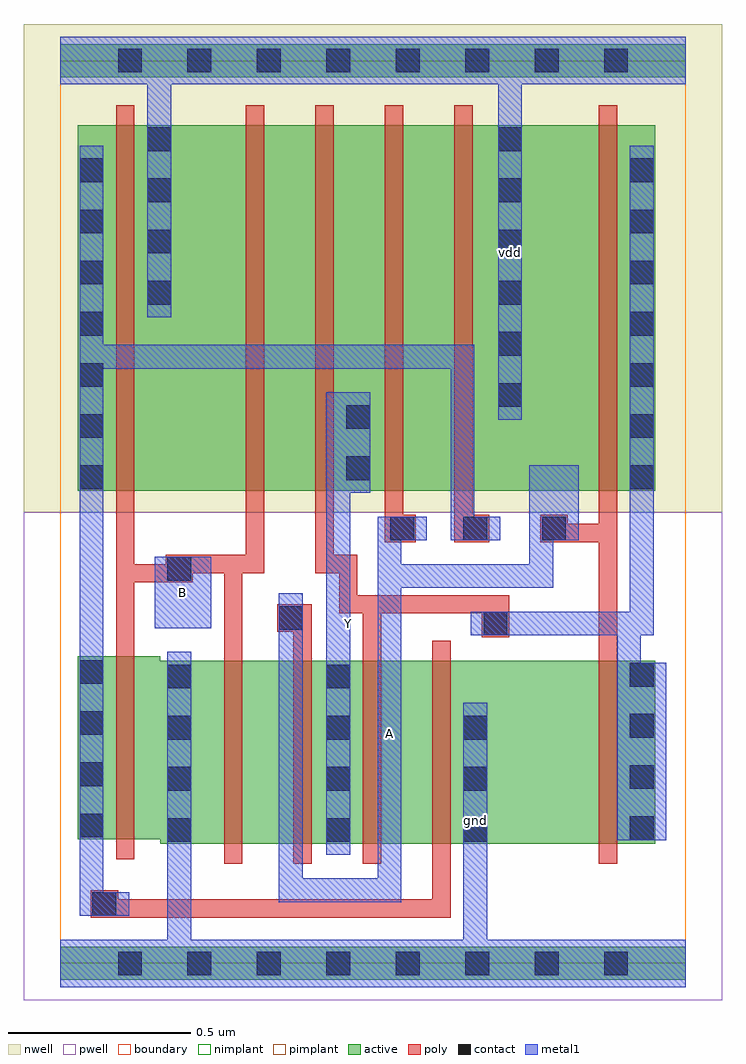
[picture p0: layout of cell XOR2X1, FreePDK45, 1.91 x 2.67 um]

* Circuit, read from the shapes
.subckt XOR2X1 A B Y gnd vdd
M1 gnd B n1 gnd nfet w=0.5u l=0.05u
M2 n2 B gnd gnd nfet w=0.5u l=0.05u
M3 Y A n2 gnd nfet w=0.5u l=0.05u
M4 n3 n4 Y gnd nfet w=0.5u l=0.05u
M5 gnd n1 n3 gnd nfet w=0.5u l=0.05u
M6 n4 A gnd gnd nfet w=0.5u l=0.05u
M7 vdd B n1 vdd pfet w=1u l=0.05u
M8 n5 B vdd vdd pfet w=1u l=0.05u
M9 Y n4 n5 vdd pfet w=1u l=0.05u
M10 n6 A Y vdd pfet w=1u l=0.05u
M11 vdd n1 n6 vdd pfet w=1u l=0.05u
M12 n4 A vdd vdd pfet w=1u l=0.05u
.ends

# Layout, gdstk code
import gdstk
lib = gdstk.Library(unit=1e-6, precision=5e-10)
def R(c, l, rs):  # rectangles x0, y0, x1, y1
    for r in rs: c.add(gdstk.rectangle(r[:2], r[2:], *l))
def A(c, l, x, y, w, h, nx, ny, dx, dy):  # array of equal rectangles
    R(c, l, [(x+i*dx, y+j*dy, x+i*dx+w, y+j*dy+h) for i in range(nx) for j in range(ny)])
def P(c, l, *ps):  # polygons
    for p in ps: c.add(gdstk.Polygon(p, *l))
active = (1, 0)
pwell = (2, 0)
nwell = (3, 0)
nimplant = (4, 0)
pimplant = (5, 0)
poly = (9, 0)
contact = (10, 0)
metal1 = (11, 0)
boundary = (235, 0)

xor2x1 = lib.new_cell('XOR2X1')
A(xor2x1, active, 0.4475, 0.3275, 0.05, 0.5, 4, 1, 0.19, 0)
A(xor2x1, active, 0.4975, 0.3275, 0.14, 0.5, 3, 1, 0.19, 0)
A(xor2x1, active, 0.5075, 1.2925, 0.05, 1, 4, 1, 0.19, 0)
A(xor2x1, active, 0.5575, 1.2925, 0.14, 1, 3, 1, 0.19, 0)
R(xor2x1, active, [(0,-0.045,1.71,0.045), (1.0675,0.3275,1.4725,0.8275), (1.4725,0.3275,1.5225,0.8275), (1.5225,0.3275,1.6275,0.8275), (0.0475,0.34,0.1525,0.84), (0.1525,0.34,0.2025,0.84), (0.0475,1.2925,0.1525,2.2925), (0.1525,1.2925,0.2025,2.2925), (0.2025,1.2925,0.5075,2.2925), (1.1275,1.2925,1.4725,2.2925), (1.4725,1.2925,1.5225,2.2925), (1.5225,1.2925,1.6275,2.2925), (0,2.425,1.71,2.515)])
P(xor2x1, active, [(0.2725,0.84),(0.2725,0.8275),(0.4475,0.8275),(0.4475,0.3275),(0.2725,0.3275),(0.2725,0.34),(0.2025,0.34),(0.2025,0.84)])
R(xor2x1, pwell, [(-0.1,-0.1,1.81,1.235)])
R(xor2x1, nwell, [(-0.1,1.235,1.81,2.57)])
A(xor2x1, nimplant, 0.4475, 0.3275, 0.05, 0.5, 4, 1, 0.19, 0)
A(xor2x1, nimplant, 0.4975, 0.3275, 0.14, 0.5, 3, 1, 0.19, 0)
R(xor2x1, nimplant, [(1.0675,0.3275,1.4725,0.8275), (1.4725,0.3275,1.5225,0.8275), (1.5225,0.3275,1.6275,0.8275), (0.0475,0.34,0.1525,0.84), (0.1525,0.34,0.2025,0.84), (0,2.425,1.71,2.515)])
P(xor2x1, nimplant, [(0.2725,0.84),(0.2725,0.8275),(0.4475,0.8275),(0.4475,0.3275),(0.2725,0.3275),(0.2725,0.34),(0.2025,0.34),(0.2025,0.84)])
A(xor2x1, pimplant, 0.5075, 1.2925, 0.05, 1, 4, 1, 0.19, 0)
A(xor2x1, pimplant, 0.5575, 1.2925, 0.14, 1, 3, 1, 0.19, 0)
R(xor2x1, pimplant, [(0,-0.045,1.71,0.045), (0.0475,1.2925,0.1525,2.2925), (0.1525,1.2925,0.2025,2.2925), (0.2025,1.2925,0.5075,2.2925), (1.1275,1.2925,1.4725,2.2925), (1.4725,1.2925,1.5225,2.2925), (1.5225,1.2925,1.6275,2.2925)])
A(xor2x1, poly, 0.4475, 0.2725, 0.05, 0.055, 3, 1, 0.19, 0)
A(xor2x1, poly, 0.4475, 0.3275, 0.05, 0.5, 4, 1, 0.19, 0)
A(xor2x1, poly, 0.5075, 1.2925, 0.05, 1, 4, 1, 0.19, 0)
A(xor2x1, poly, 0.5075, 2.2925, 0.05, 0.055, 4, 1, 0.19, 0)
R(xor2x1, poly, [(1.4725,0.2725,1.5225,0.3275), (0.1525,0.285,0.2025,0.34), (1.4725,0.3275,1.5225,0.8275), (0.1525,0.34,0.2025,0.84), (1.0175,0.8275,1.0675,0.8825), (0.1525,1.2925,0.2025,2.2925), (1.4725,1.2925,1.5225,2.2925), (0.1525,2.2925,0.2025,2.3475), (1.4725,2.2925,1.5225,2.3475)])
P(xor2x1, poly, [(1.4725,1.1525),(1.3125,1.1525),(1.3125,1.2275),(1.3875,1.2275),(1.3875,1.2025),(1.4725,1.2025),(1.4725,1.2925),(1.5225,1.2925),(1.5225,0.8275),(1.4725,0.8275)],
  [(1.1275,1.2275),(1.1725,1.2275),(1.1725,1.1525),(1.0775,1.1525),(1.0775,1.2925),(1.1275,1.2925)],
  [(1.0175,0.175),(1.0175,0.3275),(1.0675,0.3275),(1.0675,0.125),(0.0825,0.125),(0.0825,0.2),(0.1575,0.2),(0.1575,0.175)],
  [(0.9375,1.2275),(0.9725,1.2275),(0.9725,1.1525),(0.8875,1.1525),(0.8875,1.2925),(0.9375,1.2925)],
  [(0.7475,1.1175),(0.8125,1.1175),(0.8125,1.0075),(1.2275,1.0075),(1.2275,0.8925),(1.1525,0.8925),(1.1525,0.9575),(0.8775,0.9575),(0.8775,0.8275),(0.8275,0.8275),(0.8275,0.9575),(0.7625,0.9575),(0.7625,1.0675),(0.6975,1.0675),(0.6975,1.2925),(0.7475,1.2925)],
  [(0.6375,0.9075),(0.5925,0.9075),(0.5925,0.9825),(0.6875,0.9825),(0.6875,0.8275),(0.6375,0.8275)],
  [(0.1525,1.2925),(0.2025,1.2925),(0.2025,1.0925),(0.2875,1.0925),(0.2875,1.1175),(0.5075,1.1175),(0.5075,1.2925),(0.5575,1.2925),(0.5575,1.0675),(0.4975,1.0675),(0.4975,0.8275),(0.4475,0.8275),(0.4475,1.0675),(0.3625,1.0675),(0.3625,1.0425),(0.2025,1.0425),(0.2025,0.84),(0.1525,0.84)])
A(xor2x1, contact, 0.1575, -0.0325, 0.065, 0.065, 8, 2, 0.19, 2.47)
A(xor2x1, contact, 0.2925, 0.3325, 0.065, 0.065, 1, 4, 0, 0.14)
A(xor2x1, contact, 0.7275, 0.3325, 0.065, 0.065, 1, 4, 0, 0.14)
A(xor2x1, contact, 1.1025, 0.3325, 0.065, 0.065, 1, 3, 0, 0.14)
A(xor2x1, contact, 1.5575, 0.3375, 0.065, 0.065, 1, 4, 0, 0.14)
A(xor2x1, contact, 0.0525, 0.345, 0.065, 0.065, 1, 4, 0, 0.14)
A(xor2x1, contact, 0.0525, 1.2975, 0.065, 0.065, 1, 7, 0, 0.14)
A(xor2x1, contact, 1.5575, 1.2975, 0.065, 0.065, 1, 7, 0, 0.14)
A(xor2x1, contact, 1.1975, 1.5225, 0.065, 0.065, 1, 6, 0, 0.14)
A(xor2x1, contact, 0.2375, 1.8025, 0.065, 0.065, 1, 4, 0, 0.14)
R(xor2x1, contact, [(0.0875,0.13,0.1525,0.195), (1.1575,0.8975,1.2225,0.9625), (0.5975,0.9125,0.6625,0.9775), (0.2925,1.0475,0.3575,1.1125), (0.9025,1.1575,0.9675,1.2225), (1.1025,1.1575,1.1675,1.2225), (1.3175,1.1575,1.3825,1.2225), (0.7825,1.3225,0.8475,1.3875), (0.7825,1.4625,0.8475,1.5275)])
R(xor2x1, metal1, [(0.2575,0.9175,0.4125,1.1125)])
P(xor2x1, metal1, [(0.7275,0.2975),(0.7275,1.5625),(0.8475,1.5625),(0.8475,1.2875),(0.7925,1.2875),(0.7925,0.2975)],
  [(0.0525,2.2375),(0.1175,2.2375),(0.1175,1.6925),(1.1325,1.6925),(1.1325,1.2225),(1.2025,1.2225),(1.2025,1.1575),(1.0675,1.1575),(1.0675,1.6275),(0.1175,1.6275),(0.1175,0.195),(0.1875,0.195),(0.1875,0.13),(0.0525,0.13)],
  [(0.6625,0.2325),(0.8675,0.2325),(0.8675,1.2225),(1.0025,1.2225),(1.0025,1.1575),(0.9325,1.1575),(0.9325,1.0925),(1.2825,1.0925),(1.2825,1.3625),(1.4175,1.3625),(1.4175,1.1575),(1.3475,1.1575),(1.3475,1.0275),(0.9325,1.0275),(0.9325,0.1675),(0.5975,0.1675),(0.5975,1.0125),(0.6625,1.0125)],
  [(1.5575,0.9625),(1.5575,2.2375),(1.6225,2.2375),(1.6225,0.8975),(1.5875,0.8975),(1.5875,0.8225),(1.6575,0.8225),(1.6575,0.3375),(1.5225,0.3375),(1.5225,0.8975),(1.1225,0.8975),(1.1225,0.9625)],
  [(0,-0.065),(0,0.065),(0.2925,0.065),(0.2925,0.8525),(0.3575,0.8525),(0.3575,0.065),(1.1025,0.065),(1.1025,0.7125),(1.1675,0.7125),(1.1675,0.065),(1.71,0.065),(1.71,-0.065)],
  [(0,2.405),(0,2.535),(1.71,2.535),(1.71,2.405),(1.2625,2.405),(1.2625,1.4875),(1.1975,1.4875),(1.1975,2.405),(0.3025,2.405),(0.3025,1.7675),(0.2375,1.7675),(0.2375,2.405)])
R(xor2x1, boundary, [(0,0,1.71,2.47)])
xor2x1.add(gdstk.Label('B', (0.335,1.015), layer=11, texttype=237))
xor2x1.add(gdstk.Label('Y', (0.7875,0.93), layer=11, texttype=237))
xor2x1.add(gdstk.Label('A', (0.9,0.63), layer=11, texttype=237))
xor2x1.add(gdstk.Label('gnd', (1.135,0.39), layer=11, texttype=237))
xor2x1.add(gdstk.Label('vdd', (1.23,1.945), layer=11, texttype=237))

lib.write_gds('XOR2X1.gds')
